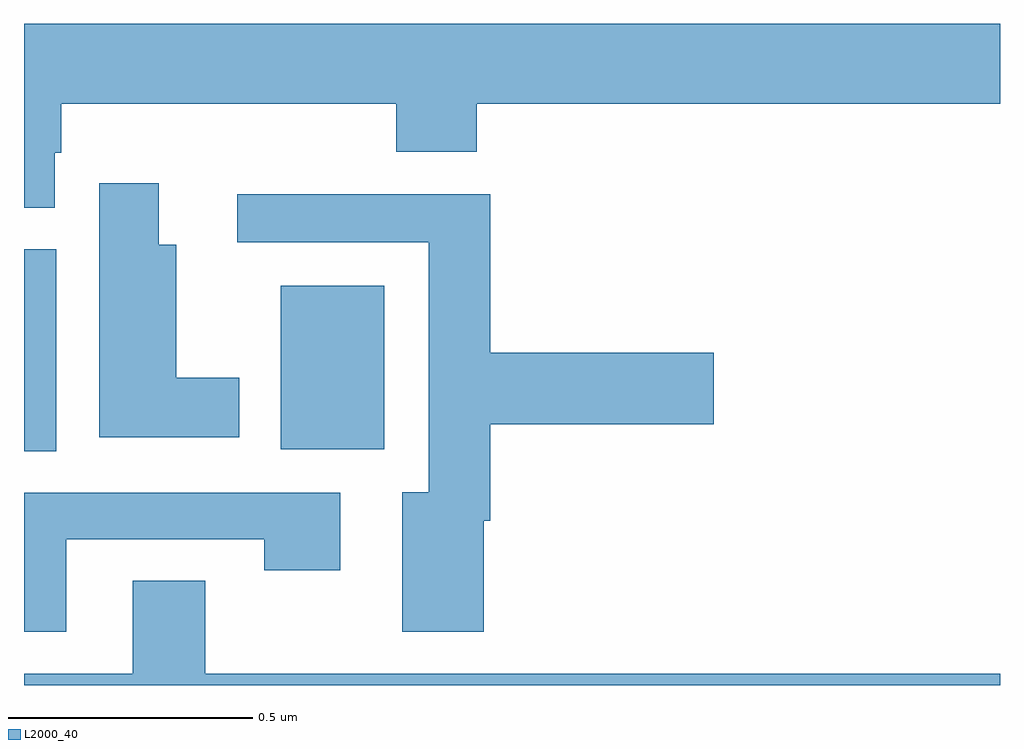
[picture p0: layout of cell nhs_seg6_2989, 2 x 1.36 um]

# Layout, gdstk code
import gdstk
lib = gdstk.Library(unit=1e-6, precision=1e-09)
def R(c, l, rs):  # rectangles x0, y0, x1, y1
    for r in rs: c.add(gdstk.rectangle(r[:2], r[2:], *l))
def P(c, l, *ps):  # polygons
    for p in ps: c.add(gdstk.Polygon(p, *l))
L2000_40 = (2000, 40)

nhs_seg6_2989 = lib.new_cell('nhs_seg6_2989')
R(nhs_seg6_2989, L2000_40, [(151,923.98,151.066,924.394), (151.526,923.984,151.738,924.319)])
P(nhs_seg6_2989, L2000_40, [(151.063,924.591),(151.076,924.591),(151.076,924.692),(151.763,924.692),(151.763,924.593),(151.928,924.593),(151.928,924.692),(153,924.692),(153,924.856),(151,924.856),(151,924.479),(151.063,924.479)],
  [(151.441,924.13),(151.312,924.13),(151.312,924.403),(151.276,924.403),(151.276,924.529),(151.154,924.529),(151.154,924.008),(151.441,924.008)],
  [(151.942,923.837),(151.955,923.837),(151.955,924.035),(152.413,924.035),(152.413,924.182),(151.955,924.182),(151.955,924.506),(151.437,924.506),(151.437,924.408),(151.829,924.408),(151.829,923.896),(151.775,923.896),(151.775,923.61),(151.942,923.61)],
  [(151.087,923.799),(151.492,923.799),(151.492,923.736),(151.648,923.736),(151.648,923.895),(151,923.895),(151,923.61),(151.087,923.61)],
  [(153,923.524),(151.371,923.524),(151.371,923.714),(151.223,923.714),(151.223,923.524),(151,923.524),(151,923.5),(153,923.5)])

lib.write_gds('nhs_seg6_2989.gds')
